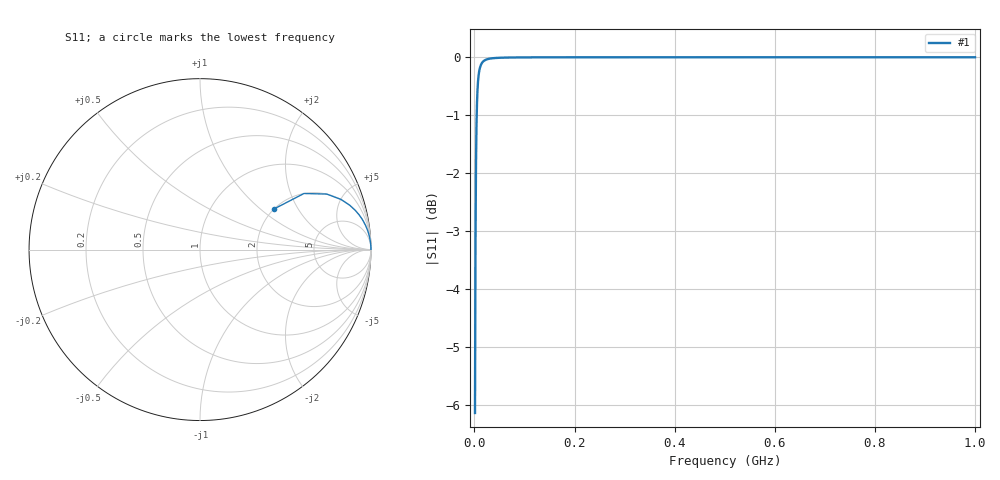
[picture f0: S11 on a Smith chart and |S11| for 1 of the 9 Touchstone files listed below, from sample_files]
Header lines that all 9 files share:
! Document = 'RL'
! nPorts: 1, nXvals: 1000
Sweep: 1 MHz to 1 GHz
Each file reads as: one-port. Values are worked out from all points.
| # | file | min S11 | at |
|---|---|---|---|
| 1 | r100l10uSDB.s1p | -6.1 dB | 1 MHz |
| 2 | r100l10uSMA.s1p | -6.1 dB | 1 MHz |
| 3 | r100l10uSRI.s1p | -6.1 dB | 1 MHz |
| 4 | r100l10uYDB.s1p | -6.1 dB | 1 MHz |
| 5 | r100l10uYMA.s1p | -6.1 dB | 1 MHz |
| 6 | r100l10uYRI.s1p | -6.1 dB | 1 MHz |
| 7 | r100l10uZDB.s1p | -6.1 dB | 1 MHz |
| 8 | r100l10uZMA.s1p | -6.1 dB | 1 MHz |
| 9 | r100l10uZRI.s1p | -6.1 dB | 1 MHz |
